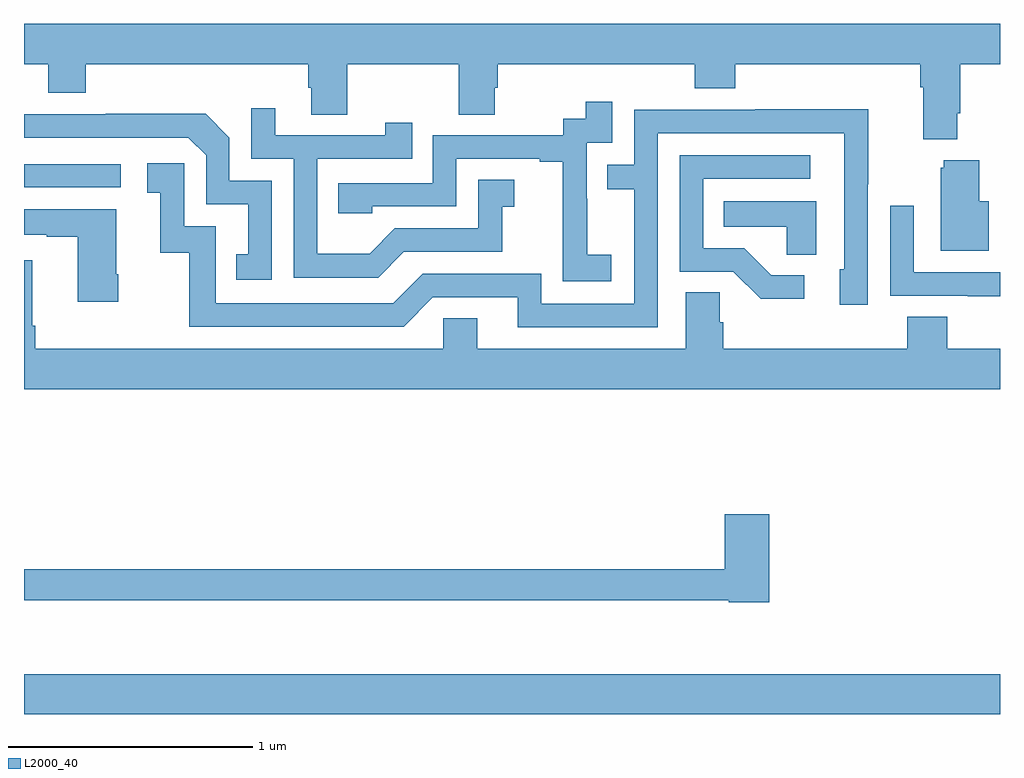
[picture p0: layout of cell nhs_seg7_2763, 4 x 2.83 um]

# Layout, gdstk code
import gdstk
lib = gdstk.Library(unit=1e-6, precision=1e-09)
def R(c, l, rs):  # rectangles x0, y0, x1, y1
    for r in rs: c.add(gdstk.rectangle(r[:2], r[2:], *l))
def P(c, l, *ps):  # polygons
    for p in ps: c.add(gdstk.Polygon(p, *l))
L2000_40 = (2000, 40)

nhs_seg7_2763 = lib.new_cell('nhs_seg7_2763')
R(nhs_seg7_2763, L2000_40, [(289,1036.58,293,1036.744), (289,1038.738,289.396,1038.834)])
P(nhs_seg7_2763, L2000_40, [(292.825,1039.042),(292.838,1039.042),(292.838,1039.244),(293,1039.244),(293,1039.408),(289,1039.408),(289,1039.244),(289.1,1039.244),(289.1,1039.127),(289.253,1039.127),(289.253,1039.244),(290.165,1039.244),(290.165,1039.146),(290.177,1039.146),(290.177,1039.036),(290.325,1039.036),(290.325,1039.244),(290.782,1039.244),(290.782,1039.036),(290.929,1039.036),(290.929,1039.146),(290.942,1039.146),(290.942,1039.244),(291.749,1039.244),(291.749,1039.145),(291.914,1039.145),(291.914,1039.244),(292.673,1039.244),(292.673,1039.148),(292.685,1039.148),(292.685,1038.935),(292.825,1038.935)],
  [(291.406,1038.463),(291.308,1038.463),(291.308,1038.692),(291.306,1038.692),(291.306,1038.921),(291.411,1038.921),(291.411,1039.09),(291.303,1039.09),(291.303,1039.02),(291.21,1039.02),(291.21,1038.951),(290.676,1038.951),(290.676,1038.756),(290.287,1038.756),(290.287,1038.633),(290.427,1038.633),(290.427,1038.66),(290.772,1038.66),(290.772,1038.855),(291.113,1038.855),(291.113,1038.843),(291.209,1038.843),(291.209,1038.559),(291.208,1038.559),(291.208,1038.353),(291.406,1038.353)],
  [(290.557,1038.474),(290.961,1038.474),(290.961,1038.659),(291.01,1038.659),(291.01,1038.769),(290.862,1038.769),(290.862,1038.57),(290.52,1038.57),(290.416,1038.466),(290.202,1038.466),(290.202,1038.855),(290.591,1038.855),(290.591,1039.003),(290.48,1039.003),(290.48,1038.951),(290.029,1038.951),(290.029,1039.063),(289.932,1039.063),(289.932,1038.855),(290.106,1038.855),(290.106,1038.369),(290.452,1038.369)],
  [(291.597,1038.96),(292.362,1038.96),(292.362,1038.402),(292.343,1038.402),(292.343,1038.257),(292.458,1038.257),(292.458,1038.751),(292.461,1038.751),(292.461,1039.058),(291.997,1039.058),(291.997,1039.056),(291.501,1039.056),(291.501,1038.831),(291.391,1038.831),(291.391,1038.73),(291.501,1038.73),(291.501,1038.261),(291.12,1038.261),(291.12,1038.384),(290.634,1038.384),(290.514,1038.264),(289.785,1038.264),(289.785,1038.579),(289.656,1038.579),(289.656,1038.838),(289.506,1038.838),(289.506,1038.717),(289.559,1038.717),(289.559,1038.471),(289.677,1038.471),(289.677,1038.168),(290.556,1038.168),(290.676,1038.288),(291.023,1038.288),(291.023,1038.165),(291.597,1038.165)],
  [(290.016,1038.765),(289.842,1038.765),(289.842,1038.942),(289.744,1039.04),(289.336,1039.04),(289.336,1039.038),(289,1039.038),(289,1038.942),(289.674,1038.942),(289.746,1038.87),(289.746,1038.669),(289.919,1038.669),(289.919,1038.465),(289.87,1038.465),(289.87,1038.36),(290.016,1038.36)],
  [(292.198,1038.378),(292.063,1038.378),(291.952,1038.489),(291.783,1038.489),(291.783,1038.774),(292.222,1038.774),(292.222,1038.87),(291.687,1038.87),(291.687,1038.393),(291.906,1038.393),(292.019,1038.281),(292.198,1038.281)],
  [(292.954,1038.682),(292.915,1038.682),(292.915,1038.85),(292.769,1038.85),(292.769,1038.819),(292.757,1038.819),(292.757,1038.479),(292.954,1038.479)],
  [(292.246,1038.682),(291.868,1038.682),(291.868,1038.578),(292.125,1038.578),(292.125,1038.463),(292.246,1038.463)],
  [(293,1038.39),(292.647,1038.39),(292.647,1038.664),(292.551,1038.664),(292.551,1038.294),(292.867,1038.294),(292.867,1038.293),(293,1038.293)],
  [(289.386,1038.382),(289.378,1038.382),(289.378,1038.649),(289,1038.649),(289,1038.545),(289.094,1038.545),(289.094,1038.535),(289.22,1038.535),(289.22,1038.27),(289.386,1038.27)],
  [(293,1038.076),(292.784,1038.076),(292.784,1038.209),(292.619,1038.209),(292.619,1038.076),(291.866,1038.076),(291.866,1038.185),(291.852,1038.185),(291.852,1038.308),(291.713,1038.308),(291.713,1038.076),(290.857,1038.076),(290.857,1038.203),(290.718,1038.203),(290.718,1038.076),(289.046,1038.076),(289.046,1038.172),(289.033,1038.172),(289.033,1038.439),(289,1038.439),(289,1037.912),(293,1037.912)],
  [(292.055,1037.398),(291.872,1037.398),(291.872,1037.174),(289,1037.174),(289,1037.046),(291.888,1037.046),(291.888,1037.038),(292.055,1037.038)])

lib.write_gds('nhs_seg7_2763.gds')
